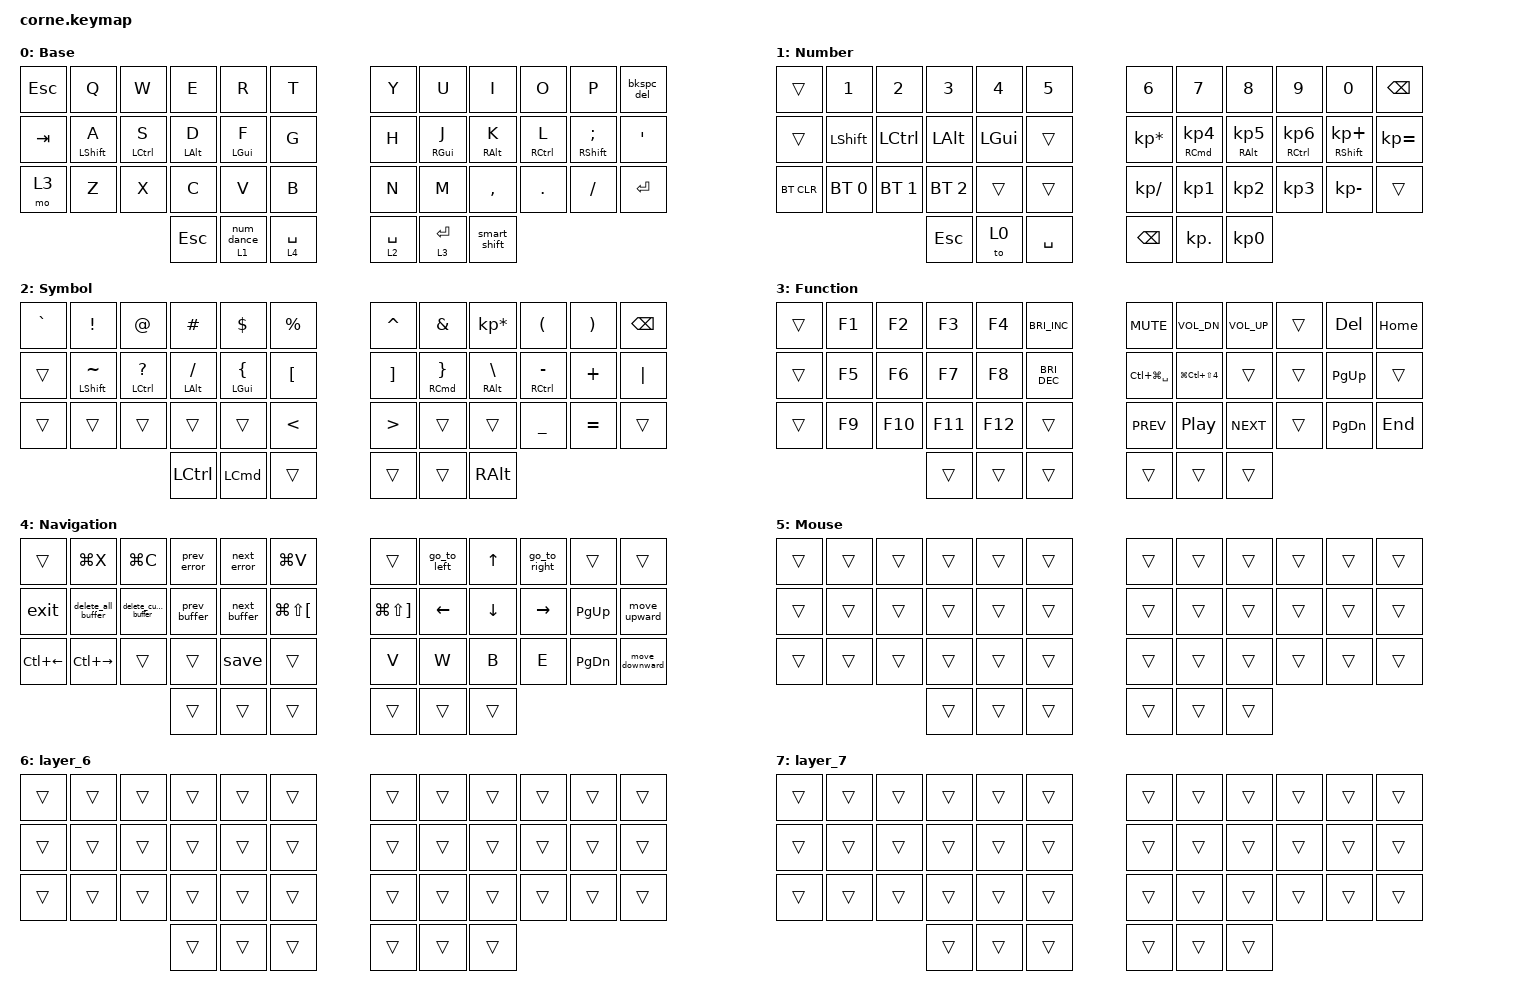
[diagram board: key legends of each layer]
/*
 * Copyright (c) 2020 The ZMK Contributors
 *
 * SPDX-License-Identifier: MIT
 */

#include <behaviors.dtsi>
#include <dt-bindings/zmk/bt.h>
#include <dt-bindings/zmk/keys.h>

&mt {
    tapping-term-ms = <280>;
    flavor = "balanced";
    quick-tap-ms = <175>;
    require-prior-idle-ms = <150>;
};

&lt {
    tapping-term-ms = <280>;
    quick-tap-ms = <175>;
    require-prior-idle-ms = <150>;
};

&sk { quick-release; };

/ {
    combos {
        compatible = "zmk,combos";

        Caps_lock {
            bindings = <&kp CAPSLOCK>;
            key-positions = <19 16>;
        };

        Screenshot_capture {
            bindings = <&kp LG(LC(LS(NUMBER_4)))>;
            key-positions = <1 2>;
        };

        Toggle_navigation {
            bindings = <&tog 4>;
            key-positions = <38 39>;
        };

        language_switcher {
            bindings = <&kp LC(SPACE)>;
            key-positions = <37 40>;
            timeout-ms = <100>;
        };
    };

    macros {
        delete_all_buffer: close_off_buffer {
            compatible = "zmk,behavior-macro";
            #binding-cells = <0>;
            bindings = <&kp ESCAPE &kp SPACE &kp B &kp O>;
            label = "CLOSE_OFF_BUFFER";
        };

        delete_current_buffer: delete_current_buffer {
            compatible = "zmk,behavior-macro";
            #binding-cells = <0>;
            bindings = <&kp ESCAPE &kp SPACE &kp B &kp D>;
            label = "DELETE_CURRENT_BUFFER";
        };

        next_buffer: next_buffer {
            compatible = "zmk,behavior-macro";
            #binding-cells = <0>;
            bindings = <&kp ESCAPE &kp RIGHT_BRACKET &kp B>;
            label = "NEXT_BUFFER";
        };

        prev_buffer: prev_buffer {
            compatible = "zmk,behavior-macro";
            #binding-cells = <0>;
            bindings = <&kp ESCAPE &kp LEFT_BRACKET &kp B>;
            label = "PREV_BUFFER";
        };

        prev_error: prev_error {
            compatible = "zmk,behavior-macro";
            #binding-cells = <0>;
            bindings = <&kp ESCAPE &kp LEFT_BRACKET &kp E>;
            label = "PREV_ERROR";
        };

        next_error: next_error {
            compatible = "zmk,behavior-macro";
            #binding-cells = <0>;
            bindings = <&kp ESCAPE &kp RIGHT_BRACKET &kp E>;
            label = "NEXT_ERROR";
        };

        move_downward: move_downward {
            compatible = "zmk,behavior-macro";
            #binding-cells = <0>;
            bindings = <&kp ESCAPE &kp LA(J)>;
            label = "MOVE_DOWNWARD";
        };

        move_upward: move_upward {
            compatible = "zmk,behavior-macro";
            #binding-cells = <0>;
            bindings = <&kp ESCAPE &kp LA(K)>;
            label = "MOVE_UPWARD";
        };

        save: save {
            compatible = "zmk,behavior-macro";
            #binding-cells = <0>;
            bindings = <&kp ESCAPE &kp COLON &kp W &kp ENTER>;
            label = "SAVE";
        };

        exit: exit {
            compatible = "zmk,behavior-macro";
            #binding-cells = <0>;
            bindings = <&kp ESCAPE &kp COLON &kp Q &kp ENTER>;
            label = "EXIT";
        };

        go_to_left: go_to_left {
            compatible = "zmk,behavior-macro";
            #binding-cells = <0>;
            bindings = <&kp ESCAPE &kp LC(H)>;
            label = "GO_TO_LEFT";
        };

        go_to_right: go_to_right {
            compatible = "zmk,behavior-macro";
            #binding-cells = <0>;
            bindings = <&kp ESCAPE &kp LC(L)>;
            label = "GO_TO_RIGHT";
        };

        cmo: cmo {
            compatible = "zmk,behavior-macro-one-param";
            #binding-cells = <1>;
            bindings =
                <&macro_param_1to1>,
                <&macro_press>,
                <&kp MACRO_PLACEHOLDER>,
                <&macro_pause_for_release>,
                <&macro_param_1to1>,
                <&macro_release>,
                <&kp MACRO_PLACEHOLDER>;

            label = "CMO";
        };
    };

    behaviors {
        hrml: hrml {
            compatible = "zmk,behavior-hold-tap";
            label = "Home Row Mods Left";
            bindings = <&kp>, <&kp>;

            #binding-cells = <2>;
            tapping-term-ms = <280>;
            quick-tap-ms = <175>;
            require-prior-idle-ms = <150>;
            flavor = "balanced";
            hold-trigger-key-positions = <6 7 8 9 10 11 18 19 20 21 22 23 30 31 32 33 34 35 39 40 41 36 37 38>;
            hold-trigger-on-release;
        };

        hrmr: hrmr {
            compatible = "zmk,behavior-hold-tap";
            label = "Home Row Mods Right";
            bindings = <&kp>, <&kp>;

            #binding-cells = <2>;
            tapping-term-ms = <280>;
            quick-tap-ms = <175>;
            require-prior-idle-ms = <150>;
            flavor = "balanced";
            hold-trigger-on-release;
            hold-trigger-key-positions = <0 1 2 3 4 5 12 13 14 15 16 17 24 25 26 27 28 29 36 37 38 39 40 41>;
        };

        smart_shift: smart_shift {
            compatible = "zmk,behavior-mod-morph";
            label = "Smart Shift";
            bindings = <&sk RSHFT>, <&caps_word>;

            #binding-cells = <0>;
            mods = <(MOD_RSFT)>;
        };

        num_dance: num_dance {
            compatible = "zmk,behavior-tap-dance";
            label = "Number Tap Dance";
            #binding-cells = <0>;
            tapping-term-ms = <280>;
            bindings = <&kp TAB>, <&tog 1>;
        };

        smart_num: smart_num {
            compatible = "zmk,behavior-hold-tap";
            label = "Smart Number";
            bindings = <&mo>, <&num_dance>;

            #binding-cells = <2>;
            tapping-term-ms = <280>;
            flavor = "balanced";
        };

        bkspc_del: bkspc_del {
            compatible = "zmk,behavior-mod-morph";
            label = "Backspace Delete";
            bindings = <&kp BACKSPACE>, <&kp DELETE>;

            #binding-cells = <0>;
            mods = <(MOD_RSFT|MOD_LSFT)>;
        };
    };

    keymap {
        compatible = "zmk,keymap";

        default_layer {
            // -----------------------------------------------------------------------------------------
            // |  TAB |  Q  |  W  |  E  |  R  |  T  |   |  Y  |  U   |  I  |  O  |  P  | BKSP |
            // | CTRL |  A  |  S  |  D  |  F  |  G  |   |  H  |  J   |  K  |  L  |  ;  |  '   |
            // | SHFT |  Z  |  X  |  C  |  V  |  B  |   |  N  |  M   |  ,  |  .  |  /  | ESC  |
            //                    | GUI | LWR | SPC |   | ENT | RSE  | ALT |

            label = "Base";
            bindings = <
&kp ESCAPE  &kp Q             &kp W          &kp E             &kp R           &kp T          &kp Y        &kp U            &kp I            &kp O        &kp P                      &bkspc_del
&kp TAB     &mt LEFT_SHIFT A  &hrml LCTRL S  &hrml LEFT_ALT D  &hrml LGUI F    &kp G          &kp H        &mt RIGHT_GUI J  &mt RIGHT_ALT K  &mt RCTRL L  &mt RIGHT_SHIFT SEMICOLON  &kp SQT
&mo 3       &kp Z             &kp X          &kp C             &kp V           &kp B          &kp N        &kp M            &kp COMMA        &kp DOT      &kp FSLH                   &kp ENTER
                                             &kp ESCAPE        &smart_num 1 0  &lt 4 SPACE    &lt 2 SPACE  &lt 3 ENTER      &smart_shift
            >;
        };

        number_layer {
            // -----------------------------------------------------------------------------------------
            // |  TAB |  1  |  2  |  3  |  4  |  5  |   |  6  |  7  |  8  |  9  |  0  | BKSP |
            // | BTCLR| BT1 | BT2 | BT3 | BT4 | BT5 |   | LFT | DWN |  UP | RGT |     |      |
            // | SHFT |     |     |     |     |     |   |     |     |     |     |     |      |
            //                    |BTCLR|     | SPC |   | ENT |     | ALT |

            label = "Number";
            bindings = <
&trans      &kp N1        &kp N2        &kp N3        &kp N4    &kp N5       &kp N6           &kp N7                &kp N8                &kp N9                 &kp N0              &kp BSPC
&trans      &kp LSHFT     &kp LCTRL     &kp LALT      &kp LGUI  &trans       &kp KP_MULTIPLY  &mt RCMD KP_NUMBER_4  &mt RALT KP_NUMBER_5  &mt RCTRL KP_NUMBER_6  &mt RSHIFT KP_PLUS  &kp KP_EQUAL
&bt BT_CLR  &bt BT_SEL 0  &bt BT_SEL 1  &bt BT_SEL 2  &trans    &trans       &kp KP_DIVIDE    &kp KP_NUMBER_1       &kp KP_NUMBER_2       &kp KP_NUMBER_3        &kp KP_SUBTRACT     &trans
                                        &kp ESCAPE    &to 0     &kp SPACE    &kp BACKSPACE    &kp KP_DOT            &kp KP_NUMBER_0
            >;
        };

        symbol_layer {
            // -----------------------------------------------------------------------------------------
            // |  TAB |  !  |  @  |  #  |  $  |  %  |   |  ^  |  &  |  *  |  (  |  )  | BKSP |
            // | CTRL |     |     |     |     |     |   |  -  |  =  |  [  |  ]  |  \  |  `   |
            // | SHFT |     |     |     |     |     |   |  _  |  +  |  {  |  }  | "|" |  ~   |
            //                    | GUI |     | SPC |   | ENT |     | ALT |

            label = "Symbol";
            bindings = <
&kp GRAVE  &kp EXCL              &kp AT              &kp HASH            &kp DLLR                 &kp PRCNT        &kp CARET         &kp AMPS                       &kp KP_MULTIPLY          &kp LPAR                 &kp RPAR   &kp BSPC
&trans     &mt LEFT_SHIFT TILDE  &mt LCTRL QUESTION  &mt LEFT_ALT SLASH  &mt LEFT_GUI LEFT_BRACE  &kp LBKT         &kp RBKT          &mt RIGHT_COMMAND RIGHT_BRACE  &mt RIGHT_ALT BACKSLASH  &mt RIGHT_CONTROL MINUS  &kp PLUS   &kp PIPE
&trans     &trans                &trans              &trans              &trans                   &kp LESS_THAN    &kp GREATER_THAN  &trans                         &trans                   &kp UNDERSCORE           &kp EQUAL  &trans
                                                     &kp LEFT_CONTROL    &kp LEFT_COMMAND         &trans           &trans            &trans                         &kp RALT
            >;
        };

        function_layer {
            bindings = <
&trans  &kp F1  &kp F2   &kp F3   &kp F4   &kp C_BRIGHTNESS_INC    &kp C_MUTE         &kp C_VOL_DN              &kp C_VOLUME_UP  &trans  &kp DEL    &kp HOME
&trans  &kp F5  &kp F6   &kp F7   &kp F8   &kp C_BRIGHTNESS_DEC    &kp LC(LG(SPACE))  &kp LG(LC(LS(NUMBER_4)))  &trans           &trans  &kp PG_UP  &trans
&trans  &kp F9  &kp F10  &kp F11  &kp F12  &trans                  &kp C_PREV         &kp C_PLAY_PAUSE          &kp C_NEXT       &trans  &kp PG_DN  &kp END
                         &trans   &trans   &trans                  &trans             &trans                    &trans
            >;

            label = "Function";
        };

        navigation_layer {
            bindings = <
&trans        &kp LG(X)           &kp LG(C)               &prev_error   &next_error   &kp LG(V)                   &trans                     &go_to_left  &kp UP_ARROW  &go_to_right  &trans         &trans
&exit         &delete_all_buffer  &delete_current_buffer  &prev_buffer  &next_buffer  &kp LG(LS(LEFT_BRACKET))    &kp LG(LS(RIGHT_BRACKET))  &kp LEFT     &kp DOWN      &kp RIGHT     &kp PAGE_UP    &move_upward
&kp LC(LEFT)  &kp LC(RIGHT)       &trans                  &trans        &save         &trans                      &kp V                      &kp W        &kp B         &kp E         &kp PAGE_DOWN  &move_downward
                                                          &trans        &trans        &trans                      &trans                     &trans       &trans
            >;

            label = "Navigation";
        };

        mouse_layer {
            bindings = <
&trans  &trans  &trans  &trans  &trans  &trans    &trans  &trans  &trans  &trans  &trans  &trans
&trans  &trans  &trans  &trans  &trans  &trans    &trans  &trans  &trans  &trans  &trans  &trans
&trans  &trans  &trans  &trans  &trans  &trans    &trans  &trans  &trans  &trans  &trans  &trans
                        &trans  &trans  &trans    &trans  &trans  &trans
            >;

            label = "Mouse";
        };

        layer_6 {
            bindings = <
&trans  &trans  &trans  &trans  &trans  &trans    &trans  &trans  &trans  &trans  &trans  &trans
&trans  &trans  &trans  &trans  &trans  &trans    &trans  &trans  &trans  &trans  &trans  &trans
&trans  &trans  &trans  &trans  &trans  &trans    &trans  &trans  &trans  &trans  &trans  &trans
                        &trans  &trans  &trans    &trans  &trans  &trans
            >;
        };

        layer_7 {
            bindings = <
&trans  &trans  &trans  &trans  &trans  &trans    &trans  &trans  &trans  &trans  &trans  &trans
&trans  &trans  &trans  &trans  &trans  &trans    &trans  &trans  &trans  &trans  &trans  &trans
&trans  &trans  &trans  &trans  &trans  &trans    &trans  &trans  &trans  &trans  &trans  &trans
                        &trans  &trans  &trans    &trans  &trans  &trans
            >;
        };
    };
};
